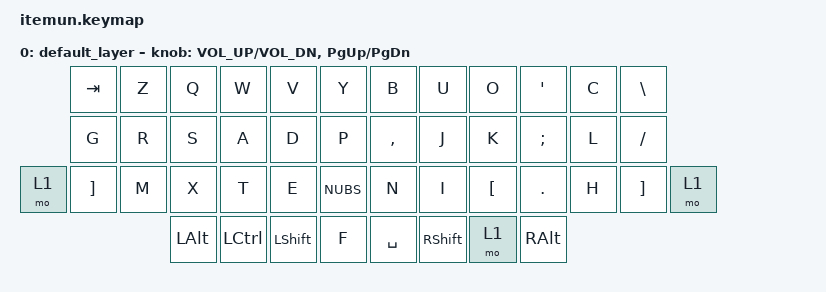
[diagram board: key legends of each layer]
#include <behaviors.dtsi>
#include <dt-bindings/zmk/keys.h>
#include <dt-bindings/zmk/bt.h>


/ {
    keymap {
        compatible = "zmk,keymap";

        default_layer {
// --------------------------------------------------------------------------------------------------------------------------------------------------------------------
// |   ESC   |    Q    |    W    |    E    |    R    |    T    |                                          |    Y    |    U    |    I    |    O    |    P    |    \    |
// |   TAB   |    A    |    S    |    D    |    F    |    G    |                                          |    H    |    J    |    K    |    L    |    ;    |    '    |
// |  SHIFT  |    Z    |    X    |    C    |    V    |    B    | CTRL+A  | CTRL+C  |  |  CTRL+V |  CTRL+X |    N    |    M    |    ,    |    .    |    /    |  R CTRL |
//                               |   GUI   |   DEL   | RETURN  |  SPACE  | ESCAPE  |  |  RETURN |  SPACE  |   TAB   |   BSPC  |  R ALT  |
            bindings = <
        &kp TAB	  &kp Z	     &kp Q	   &kp W	 &kp V     &kp Y            &kp B	    &kp U	    &kp O	   &kp APOS	 &kp C	&kp BSLH
	    &kp G	  &kp R	     &kp S	   &kp A	 &kp D	   &kp P            &kp COMMA   &kp J	    &kp K	   &kp SEMI	 &kp L	&kp SLASH
&mo 1   &kp RBKT  &kp M	     &kp X	   &kp T	 &kp E	   &kp NUBS         &kp N	    &kp I	    &kp LBKT   &kp DOT   &kp H	&kp RBKT   &mo 1  
                             &kp LALT  &kp LCTRL &kp LSHFT &kp F	        &kp SPACE   &kp RSHFT   &mo 1	   &kp RALT
            >;

            sensor-bindings = <&inc_dec_kp C_VOL_UP C_VOL_DN &inc_dec_kp PG_UP PG_DN>;
        };
    };
};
